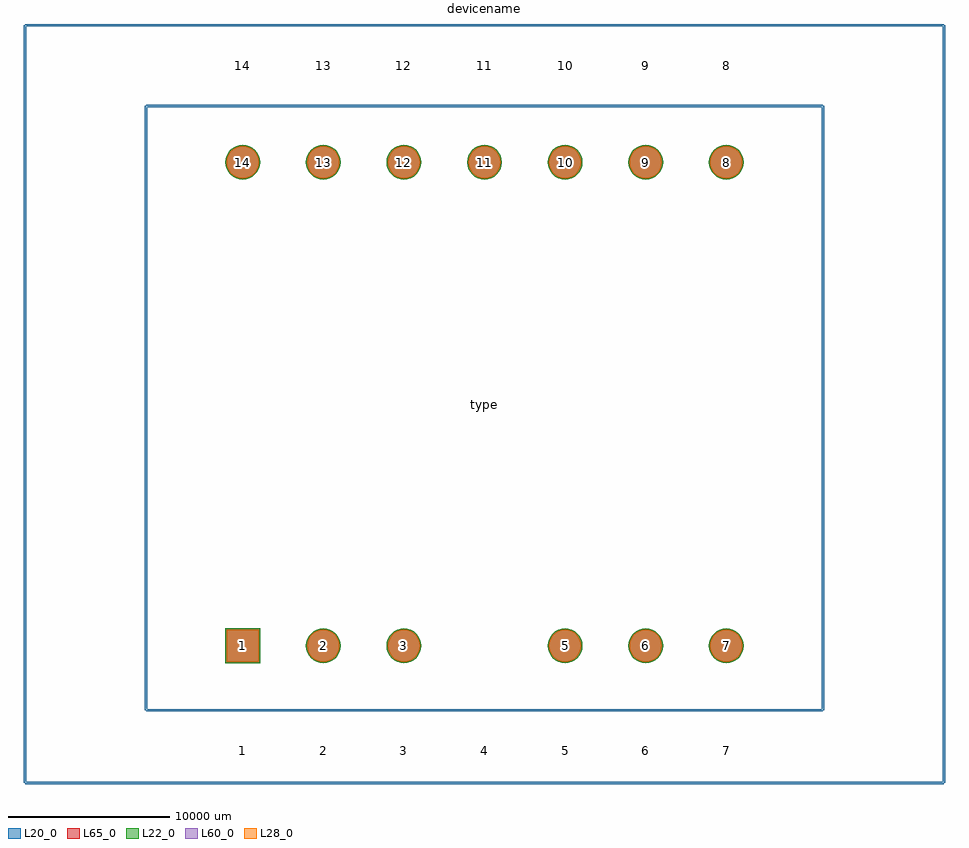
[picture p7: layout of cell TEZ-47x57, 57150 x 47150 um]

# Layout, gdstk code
import gdstk
lib = gdstk.Library(unit=1e-6, precision=1e-09)
def R(c, l, rs):  # rectangles x0, y0, x1, y1
    for r in rs: c.add(gdstk.rectangle(r[:2], r[2:], *l))
def P(c, l, *ps):  # polygons
    for p in ps: c.add(gdstk.Polygon(p, *l))
L20_0 = (20, 0)
L22_0 = (22, 0)
L28_0 = (28, 0)
L60_0 = (60, 0)
L65_0 = (65, 0)

tez_47x57 = lib.new_cell('TEZ-47x57')
R(tez_47x57, L22_0, [(-16075,-16075,-13925,-13925)])
P(tez_47x57, L22_0, [(-8925,15000),(-8945.656,15209.722),(-9006.83,15411.385),(-9106.17,15597.238),(-9239.86,15760.14),(-9402.762,15893.83),(-9588.615,15993.17),(-9790.278,16054.344),(-10000,16075),(-10209.722,16054.344),(-10411.385,15993.17),(-10597.238,15893.83),(-10760.14,15760.14),(-10893.83,15597.238),(-10993.17,15411.385),(-11054.344,15209.722),(-11075,15000),(-11054.344,14790.278),(-10993.17,14588.615),(-10893.83,14402.762),(-10760.14,14239.86),(-10597.238,14106.17),(-10411.385,14006.83),(-10209.722,13945.656),(-10000,13925),(-9790.278,13945.656),(-9588.615,14006.83),(-9402.762,14106.17),(-9239.86,14239.86),(-9106.17,14402.762),(-9006.83,14588.615),(-8945.656,14790.278)],
  [(-13925,15000),(-13945.656,15209.722),(-14006.83,15411.385),(-14106.17,15597.238),(-14239.86,15760.14),(-14402.762,15893.83),(-14588.615,15993.17),(-14790.278,16054.344),(-15000,16075),(-15209.722,16054.344),(-15411.385,15993.17),(-15597.238,15893.83),(-15760.14,15760.14),(-15893.83,15597.238),(-15993.17,15411.385),(-16054.344,15209.722),(-16075,15000),(-16054.344,14790.278),(-15993.17,14588.615),(-15893.83,14402.762),(-15760.14,14239.86),(-15597.238,14106.17),(-15411.385,14006.83),(-15209.722,13945.656),(-15000,13925),(-14790.278,13945.656),(-14588.615,14006.83),(-14402.762,14106.17),(-14239.86,14239.86),(-14106.17,14402.762),(-14006.83,14588.615),(-13945.656,14790.278)],
  [(-3925,-15000),(-3945.656,-14790.278),(-4006.83,-14588.615),(-4106.17,-14402.762),(-4239.86,-14239.86),(-4402.762,-14106.17),(-4588.615,-14006.83),(-4790.278,-13945.656),(-5000,-13925),(-5209.722,-13945.656),(-5411.385,-14006.83),(-5597.238,-14106.17),(-5760.14,-14239.86),(-5893.83,-14402.762),(-5993.17,-14588.615),(-6054.344,-14790.278),(-6075,-15000),(-6054.344,-15209.722),(-5993.17,-15411.385),(-5893.83,-15597.238),(-5760.14,-15760.14),(-5597.238,-15893.83),(-5411.385,-15993.17),(-5209.722,-16054.344),(-5000,-16075),(-4790.278,-16054.344),(-4588.615,-15993.17),(-4402.762,-15893.83),(-4239.86,-15760.14),(-4106.17,-15597.238),(-4006.83,-15411.385),(-3945.656,-15209.722)],
  [(-3925,15000),(-3945.656,15209.722),(-4006.83,15411.385),(-4106.17,15597.238),(-4239.86,15760.14),(-4402.762,15893.83),(-4588.615,15993.17),(-4790.278,16054.344),(-5000,16075),(-5209.722,16054.344),(-5411.385,15993.17),(-5597.238,15893.83),(-5760.14,15760.14),(-5893.83,15597.238),(-5993.17,15411.385),(-6054.344,15209.722),(-6075,15000),(-6054.344,14790.278),(-5993.17,14588.615),(-5893.83,14402.762),(-5760.14,14239.86),(-5597.238,14106.17),(-5411.385,14006.83),(-5209.722,13945.656),(-5000,13925),(-4790.278,13945.656),(-4588.615,14006.83),(-4402.762,14106.17),(-4239.86,14239.86),(-4106.17,14402.762),(-4006.83,14588.615),(-3945.656,14790.278)],
  [(1075,15000),(1054.344,15209.722),(993.17,15411.385),(893.83,15597.238),(760.14,15760.14),(597.238,15893.83),(411.385,15993.17),(209.722,16054.344),(0,16075),(-209.722,16054.344),(-411.385,15993.17),(-597.238,15893.83),(-760.14,15760.14),(-893.83,15597.238),(-993.17,15411.385),(-1054.344,15209.722),(-1075,15000),(-1054.344,14790.278),(-993.17,14588.615),(-893.83,14402.762),(-760.14,14239.86),(-597.238,14106.17),(-411.385,14006.83),(-209.722,13945.656),(0,13925),(209.722,13945.656),(411.385,14006.83),(597.238,14106.17),(760.14,14239.86),(893.83,14402.762),(993.17,14588.615),(1054.344,14790.278)],
  [(6075,15000),(6054.344,15209.722),(5993.17,15411.385),(5893.83,15597.238),(5760.14,15760.14),(5597.238,15893.83),(5411.385,15993.17),(5209.722,16054.344),(5000,16075),(4790.278,16054.344),(4588.615,15993.17),(4402.762,15893.83),(4239.86,15760.14),(4106.17,15597.238),(4006.83,15411.385),(3945.656,15209.722),(3925,15000),(3945.656,14790.278),(4006.83,14588.615),(4106.17,14402.762),(4239.86,14239.86),(4402.762,14106.17),(4588.615,14006.83),(4790.278,13945.656),(5000,13925),(5209.722,13945.656),(5411.385,14006.83),(5597.238,14106.17),(5760.14,14239.86),(5893.83,14402.762),(5993.17,14588.615),(6054.344,14790.278)],
  [(11075,15000),(11054.344,15209.722),(10993.17,15411.385),(10893.83,15597.238),(10760.14,15760.14),(10597.238,15893.83),(10411.385,15993.17),(10209.722,16054.344),(10000,16075),(9790.278,16054.344),(9588.615,15993.17),(9402.762,15893.83),(9239.86,15760.14),(9106.17,15597.238),(9006.83,15411.385),(8945.656,15209.722),(8925,15000),(8945.656,14790.278),(9006.83,14588.615),(9106.17,14402.762),(9239.86,14239.86),(9402.762,14106.17),(9588.615,14006.83),(9790.278,13945.656),(10000,13925),(10209.722,13945.656),(10411.385,14006.83),(10597.238,14106.17),(10760.14,14239.86),(10893.83,14402.762),(10993.17,14588.615),(11054.344,14790.278)],
  [(16075,15000),(16054.344,15209.722),(15993.17,15411.385),(15893.83,15597.238),(15760.14,15760.14),(15597.238,15893.83),(15411.385,15993.17),(15209.722,16054.344),(15000,16075),(14790.278,16054.344),(14588.615,15993.17),(14402.762,15893.83),(14239.86,15760.14),(14106.17,15597.238),(14006.83,15411.385),(13945.656,15209.722),(13925,15000),(13945.656,14790.278),(14006.83,14588.615),(14106.17,14402.762),(14239.86,14239.86),(14402.762,14106.17),(14588.615,14006.83),(14790.278,13945.656),(15000,13925),(15209.722,13945.656),(15411.385,14006.83),(15597.238,14106.17),(15760.14,14239.86),(15893.83,14402.762),(15993.17,14588.615),(16054.344,14790.278)],
  [(16075,-15000),(16054.344,-14790.278),(15993.17,-14588.615),(15893.83,-14402.762),(15760.14,-14239.86),(15597.238,-14106.17),(15411.385,-14006.83),(15209.722,-13945.656),(15000,-13925),(14790.278,-13945.656),(14588.615,-14006.83),(14402.762,-14106.17),(14239.86,-14239.86),(14106.17,-14402.762),(14006.83,-14588.615),(13945.656,-14790.278),(13925,-15000),(13945.656,-15209.722),(14006.83,-15411.385),(14106.17,-15597.238),(14239.86,-15760.14),(14402.762,-15893.83),(14588.615,-15993.17),(14790.278,-16054.344),(15000,-16075),(15209.722,-16054.344),(15411.385,-15993.17),(15597.238,-15893.83),(15760.14,-15760.14),(15893.83,-15597.238),(15993.17,-15411.385),(16054.344,-15209.722)],
  [(11075,-15000),(11054.344,-14790.278),(10993.17,-14588.615),(10893.83,-14402.762),(10760.14,-14239.86),(10597.238,-14106.17),(10411.385,-14006.83),(10209.722,-13945.656),(10000,-13925),(9790.278,-13945.656),(9588.615,-14006.83),(9402.762,-14106.17),(9239.86,-14239.86),(9106.17,-14402.762),(9006.83,-14588.615),(8945.656,-14790.278),(8925,-15000),(8945.656,-15209.722),(9006.83,-15411.385),(9106.17,-15597.238),(9239.86,-15760.14),(9402.762,-15893.83),(9588.615,-15993.17),(9790.278,-16054.344),(10000,-16075),(10209.722,-16054.344),(10411.385,-15993.17),(10597.238,-15893.83),(10760.14,-15760.14),(10893.83,-15597.238),(10993.17,-15411.385),(11054.344,-15209.722)],
  [(6075,-15000),(6054.344,-14790.278),(5993.17,-14588.615),(5893.83,-14402.762),(5760.14,-14239.86),(5597.238,-14106.17),(5411.385,-14006.83),(5209.722,-13945.656),(5000,-13925),(4790.278,-13945.656),(4588.615,-14006.83),(4402.762,-14106.17),(4239.86,-14239.86),(4106.17,-14402.762),(4006.83,-14588.615),(3945.656,-14790.278),(3925,-15000),(3945.656,-15209.722),(4006.83,-15411.385),(4106.17,-15597.238),(4239.86,-15760.14),(4402.762,-15893.83),(4588.615,-15993.17),(4790.278,-16054.344),(5000,-16075),(5209.722,-16054.344),(5411.385,-15993.17),(5597.238,-15893.83),(5760.14,-15760.14),(5893.83,-15597.238),(5993.17,-15411.385),(6054.344,-15209.722)],
  [(-8925,-15000),(-8945.656,-14790.278),(-9006.83,-14588.615),(-9106.17,-14402.762),(-9239.86,-14239.86),(-9402.762,-14106.17),(-9588.615,-14006.83),(-9790.278,-13945.656),(-10000,-13925),(-10209.722,-13945.656),(-10411.385,-14006.83),(-10597.238,-14106.17),(-10760.14,-14239.86),(-10893.83,-14402.762),(-10993.17,-14588.615),(-11054.344,-14790.278),(-11075,-15000),(-11054.344,-15209.722),(-10993.17,-15411.385),(-10893.83,-15597.238),(-10760.14,-15760.14),(-10597.238,-15893.83),(-10411.385,-15993.17),(-10209.722,-16054.344),(-10000,-16075),(-9790.278,-16054.344),(-9588.615,-15993.17),(-9402.762,-15893.83),(-9239.86,-15760.14),(-9106.17,-15597.238),(-9006.83,-15411.385),(-8945.656,-15209.722)])
R(tez_47x57, L28_0, [(-16000,-16000,-14000,-14000)])
P(tez_47x57, L28_0, [(-9000,15000),(-9019.215,15195.09),(-9076.12,15382.683),(-9168.53,15555.57),(-9292.893,15707.107),(-9444.43,15831.47),(-9617.317,15923.88),(-9804.91,15980.785),(-10000,16000),(-10195.09,15980.785),(-10382.683,15923.88),(-10555.57,15831.47),(-10707.107,15707.107),(-10831.47,15555.57),(-10923.88,15382.683),(-10980.785,15195.09),(-11000,15000),(-10980.785,14804.91),(-10923.88,14617.317),(-10831.47,14444.43),(-10707.107,14292.893),(-10555.57,14168.53),(-10382.683,14076.12),(-10195.09,14019.215),(-10000,14000),(-9804.91,14019.215),(-9617.317,14076.12),(-9444.43,14168.53),(-9292.893,14292.893),(-9168.53,14444.43),(-9076.12,14617.317),(-9019.215,14804.91)],
  [(-14000,15000),(-14019.215,15195.09),(-14076.12,15382.683),(-14168.53,15555.57),(-14292.893,15707.107),(-14444.43,15831.47),(-14617.317,15923.88),(-14804.91,15980.785),(-15000,16000),(-15195.09,15980.785),(-15382.683,15923.88),(-15555.57,15831.47),(-15707.107,15707.107),(-15831.47,15555.57),(-15923.88,15382.683),(-15980.785,15195.09),(-16000,15000),(-15980.785,14804.91),(-15923.88,14617.317),(-15831.47,14444.43),(-15707.107,14292.893),(-15555.57,14168.53),(-15382.683,14076.12),(-15195.09,14019.215),(-15000,14000),(-14804.91,14019.215),(-14617.317,14076.12),(-14444.43,14168.53),(-14292.893,14292.893),(-14168.53,14444.43),(-14076.12,14617.317),(-14019.215,14804.91)],
  [(-4000,-15000),(-4019.215,-14804.91),(-4076.12,-14617.317),(-4168.53,-14444.43),(-4292.893,-14292.893),(-4444.43,-14168.53),(-4617.317,-14076.12),(-4804.91,-14019.215),(-5000,-14000),(-5195.09,-14019.215),(-5382.683,-14076.12),(-5555.57,-14168.53),(-5707.107,-14292.893),(-5831.47,-14444.43),(-5923.88,-14617.317),(-5980.785,-14804.91),(-6000,-15000),(-5980.785,-15195.09),(-5923.88,-15382.683),(-5831.47,-15555.57),(-5707.107,-15707.107),(-5555.57,-15831.47),(-5382.683,-15923.88),(-5195.09,-15980.785),(-5000,-16000),(-4804.91,-15980.785),(-4617.317,-15923.88),(-4444.43,-15831.47),(-4292.893,-15707.107),(-4168.53,-15555.57),(-4076.12,-15382.683),(-4019.215,-15195.09)],
  [(-4000,15000),(-4019.215,15195.09),(-4076.12,15382.683),(-4168.53,15555.57),(-4292.893,15707.107),(-4444.43,15831.47),(-4617.317,15923.88),(-4804.91,15980.785),(-5000,16000),(-5195.09,15980.785),(-5382.683,15923.88),(-5555.57,15831.47),(-5707.107,15707.107),(-5831.47,15555.57),(-5923.88,15382.683),(-5980.785,15195.09),(-6000,15000),(-5980.785,14804.91),(-5923.88,14617.317),(-5831.47,14444.43),(-5707.107,14292.893),(-5555.57,14168.53),(-5382.683,14076.12),(-5195.09,14019.215),(-5000,14000),(-4804.91,14019.215),(-4617.317,14076.12),(-4444.43,14168.53),(-4292.893,14292.893),(-4168.53,14444.43),(-4076.12,14617.317),(-4019.215,14804.91)],
  [(1000,15000),(980.785,15195.09),(923.88,15382.683),(831.47,15555.57),(707.107,15707.107),(555.57,15831.47),(382.683,15923.88),(195.09,15980.785),(0,16000),(-195.09,15980.785),(-382.683,15923.88),(-555.57,15831.47),(-707.107,15707.107),(-831.47,15555.57),(-923.88,15382.683),(-980.785,15195.09),(-1000,15000),(-980.785,14804.91),(-923.88,14617.317),(-831.47,14444.43),(-707.107,14292.893),(-555.57,14168.53),(-382.683,14076.12),(-195.09,14019.215),(0,14000),(195.09,14019.215),(382.683,14076.12),(555.57,14168.53),(707.107,14292.893),(831.47,14444.43),(923.88,14617.317),(980.785,14804.91)],
  [(6000,15000),(5980.785,15195.09),(5923.88,15382.683),(5831.47,15555.57),(5707.107,15707.107),(5555.57,15831.47),(5382.683,15923.88),(5195.09,15980.785),(5000,16000),(4804.91,15980.785),(4617.317,15923.88),(4444.43,15831.47),(4292.893,15707.107),(4168.53,15555.57),(4076.12,15382.683),(4019.215,15195.09),(4000,15000),(4019.215,14804.91),(4076.12,14617.317),(4168.53,14444.43),(4292.893,14292.893),(4444.43,14168.53),(4617.317,14076.12),(4804.91,14019.215),(5000,14000),(5195.09,14019.215),(5382.683,14076.12),(5555.57,14168.53),(5707.107,14292.893),(5831.47,14444.43),(5923.88,14617.317),(5980.785,14804.91)],
  [(11000,15000),(10980.785,15195.09),(10923.88,15382.683),(10831.47,15555.57),(10707.107,15707.107),(10555.57,15831.47),(10382.683,15923.88),(10195.09,15980.785),(10000,16000),(9804.91,15980.785),(9617.317,15923.88),(9444.43,15831.47),(9292.893,15707.107),(9168.53,15555.57),(9076.12,15382.683),(9019.215,15195.09),(9000,15000),(9019.215,14804.91),(9076.12,14617.317),(9168.53,14444.43),(9292.893,14292.893),(9444.43,14168.53),(9617.317,14076.12),(9804.91,14019.215),(10000,14000),(10195.09,14019.215),(10382.683,14076.12),(10555.57,14168.53),(10707.107,14292.893),(10831.47,14444.43),(10923.88,14617.317),(10980.785,14804.91)],
  [(16000,15000),(15980.785,15195.09),(15923.88,15382.683),(15831.47,15555.57),(15707.107,15707.107),(15555.57,15831.47),(15382.683,15923.88),(15195.09,15980.785),(15000,16000),(14804.91,15980.785),(14617.317,15923.88),(14444.43,15831.47),(14292.893,15707.107),(14168.53,15555.57),(14076.12,15382.683),(14019.215,15195.09),(14000,15000),(14019.215,14804.91),(14076.12,14617.317),(14168.53,14444.43),(14292.893,14292.893),(14444.43,14168.53),(14617.317,14076.12),(14804.91,14019.215),(15000,14000),(15195.09,14019.215),(15382.683,14076.12),(15555.57,14168.53),(15707.107,14292.893),(15831.47,14444.43),(15923.88,14617.317),(15980.785,14804.91)],
  [(16000,-15000),(15980.785,-14804.91),(15923.88,-14617.317),(15831.47,-14444.43),(15707.107,-14292.893),(15555.57,-14168.53),(15382.683,-14076.12),(15195.09,-14019.215),(15000,-14000),(14804.91,-14019.215),(14617.317,-14076.12),(14444.43,-14168.53),(14292.893,-14292.893),(14168.53,-14444.43),(14076.12,-14617.317),(14019.215,-14804.91),(14000,-15000),(14019.215,-15195.09),(14076.12,-15382.683),(14168.53,-15555.57),(14292.893,-15707.107),(14444.43,-15831.47),(14617.317,-15923.88),(14804.91,-15980.785),(15000,-16000),(15195.09,-15980.785),(15382.683,-15923.88),(15555.57,-15831.47),(15707.107,-15707.107),(15831.47,-15555.57),(15923.88,-15382.683),(15980.785,-15195.09)],
  [(11000,-15000),(10980.785,-14804.91),(10923.88,-14617.317),(10831.47,-14444.43),(10707.107,-14292.893),(10555.57,-14168.53),(10382.683,-14076.12),(10195.09,-14019.215),(10000,-14000),(9804.91,-14019.215),(9617.317,-14076.12),(9444.43,-14168.53),(9292.893,-14292.893),(9168.53,-14444.43),(9076.12,-14617.317),(9019.215,-14804.91),(9000,-15000),(9019.215,-15195.09),(9076.12,-15382.683),(9168.53,-15555.57),(9292.893,-15707.107),(9444.43,-15831.47),(9617.317,-15923.88),(9804.91,-15980.785),(10000,-16000),(10195.09,-15980.785),(10382.683,-15923.88),(10555.57,-15831.47),(10707.107,-15707.107),(10831.47,-15555.57),(10923.88,-15382.683),(10980.785,-15195.09)],
  [(6000,-15000),(5980.785,-14804.91),(5923.88,-14617.317),(5831.47,-14444.43),(5707.107,-14292.893),(5555.57,-14168.53),(5382.683,-14076.12),(5195.09,-14019.215),(5000,-14000),(4804.91,-14019.215),(4617.317,-14076.12),(4444.43,-14168.53),(4292.893,-14292.893),(4168.53,-14444.43),(4076.12,-14617.317),(4019.215,-14804.91),(4000,-15000),(4019.215,-15195.09),(4076.12,-15382.683),(4168.53,-15555.57),(4292.893,-15707.107),(4444.43,-15831.47),(4617.317,-15923.88),(4804.91,-15980.785),(5000,-16000),(5195.09,-15980.785),(5382.683,-15923.88),(5555.57,-15831.47),(5707.107,-15707.107),(5831.47,-15555.57),(5923.88,-15382.683),(5980.785,-15195.09)],
  [(-9000,-15000),(-9019.215,-14804.91),(-9076.12,-14617.317),(-9168.53,-14444.43),(-9292.893,-14292.893),(-9444.43,-14168.53),(-9617.317,-14076.12),(-9804.91,-14019.215),(-10000,-14000),(-10195.09,-14019.215),(-10382.683,-14076.12),(-10555.57,-14168.53),(-10707.107,-14292.893),(-10831.47,-14444.43),(-10923.88,-14617.317),(-10980.785,-14804.91),(-11000,-15000),(-10980.785,-15195.09),(-10923.88,-15382.683),(-10831.47,-15555.57),(-10707.107,-15707.107),(-10555.57,-15831.47),(-10382.683,-15923.88),(-10195.09,-15980.785),(-10000,-16000),(-9804.91,-15980.785),(-9617.317,-15923.88),(-9444.43,-15831.47),(-9292.893,-15707.107),(-9168.53,-15555.57),(-9076.12,-15382.683),(-9019.215,-15195.09)])
R(tez_47x57, L60_0, [(-16000,-16000,-14000,-14000)])
P(tez_47x57, L60_0, [(-9000,15000),(-9019.215,15195.09),(-9076.12,15382.683),(-9168.53,15555.57),(-9292.893,15707.107),(-9444.43,15831.47),(-9617.317,15923.88),(-9804.91,15980.785),(-10000,16000),(-10195.09,15980.785),(-10382.683,15923.88),(-10555.57,15831.47),(-10707.107,15707.107),(-10831.47,15555.57),(-10923.88,15382.683),(-10980.785,15195.09),(-11000,15000),(-10980.785,14804.91),(-10923.88,14617.317),(-10831.47,14444.43),(-10707.107,14292.893),(-10555.57,14168.53),(-10382.683,14076.12),(-10195.09,14019.215),(-10000,14000),(-9804.91,14019.215),(-9617.317,14076.12),(-9444.43,14168.53),(-9292.893,14292.893),(-9168.53,14444.43),(-9076.12,14617.317),(-9019.215,14804.91)],
  [(-14000,15000),(-14019.215,15195.09),(-14076.12,15382.683),(-14168.53,15555.57),(-14292.893,15707.107),(-14444.43,15831.47),(-14617.317,15923.88),(-14804.91,15980.785),(-15000,16000),(-15195.09,15980.785),(-15382.683,15923.88),(-15555.57,15831.47),(-15707.107,15707.107),(-15831.47,15555.57),(-15923.88,15382.683),(-15980.785,15195.09),(-16000,15000),(-15980.785,14804.91),(-15923.88,14617.317),(-15831.47,14444.43),(-15707.107,14292.893),(-15555.57,14168.53),(-15382.683,14076.12),(-15195.09,14019.215),(-15000,14000),(-14804.91,14019.215),(-14617.317,14076.12),(-14444.43,14168.53),(-14292.893,14292.893),(-14168.53,14444.43),(-14076.12,14617.317),(-14019.215,14804.91)],
  [(-4000,-15000),(-4019.215,-14804.91),(-4076.12,-14617.317),(-4168.53,-14444.43),(-4292.893,-14292.893),(-4444.43,-14168.53),(-4617.317,-14076.12),(-4804.91,-14019.215),(-5000,-14000),(-5195.09,-14019.215),(-5382.683,-14076.12),(-5555.57,-14168.53),(-5707.107,-14292.893),(-5831.47,-14444.43),(-5923.88,-14617.317),(-5980.785,-14804.91),(-6000,-15000),(-5980.785,-15195.09),(-5923.88,-15382.683),(-5831.47,-15555.57),(-5707.107,-15707.107),(-5555.57,-15831.47),(-5382.683,-15923.88),(-5195.09,-15980.785),(-5000,-16000),(-4804.91,-15980.785),(-4617.317,-15923.88),(-4444.43,-15831.47),(-4292.893,-15707.107),(-4168.53,-15555.57),(-4076.12,-15382.683),(-4019.215,-15195.09)],
  [(-4000,15000),(-4019.215,15195.09),(-4076.12,15382.683),(-4168.53,15555.57),(-4292.893,15707.107),(-4444.43,15831.47),(-4617.317,15923.88),(-4804.91,15980.785),(-5000,16000),(-5195.09,15980.785),(-5382.683,15923.88),(-5555.57,15831.47),(-5707.107,15707.107),(-5831.47,15555.57),(-5923.88,15382.683),(-5980.785,15195.09),(-6000,15000),(-5980.785,14804.91),(-5923.88,14617.317),(-5831.47,14444.43),(-5707.107,14292.893),(-5555.57,14168.53),(-5382.683,14076.12),(-5195.09,14019.215),(-5000,14000),(-4804.91,14019.215),(-4617.317,14076.12),(-4444.43,14168.53),(-4292.893,14292.893),(-4168.53,14444.43),(-4076.12,14617.317),(-4019.215,14804.91)],
  [(1000,15000),(980.785,15195.09),(923.88,15382.683),(831.47,15555.57),(707.107,15707.107),(555.57,15831.47),(382.683,15923.88),(195.09,15980.785),(0,16000),(-195.09,15980.785),(-382.683,15923.88),(-555.57,15831.47),(-707.107,15707.107),(-831.47,15555.57),(-923.88,15382.683),(-980.785,15195.09),(-1000,15000),(-980.785,14804.91),(-923.88,14617.317),(-831.47,14444.43),(-707.107,14292.893),(-555.57,14168.53),(-382.683,14076.12),(-195.09,14019.215),(0,14000),(195.09,14019.215),(382.683,14076.12),(555.57,14168.53),(707.107,14292.893),(831.47,14444.43),(923.88,14617.317),(980.785,14804.91)],
  [(6000,15000),(5980.785,15195.09),(5923.88,15382.683),(5831.47,15555.57),(5707.107,15707.107),(5555.57,15831.47),(5382.683,15923.88),(5195.09,15980.785),(5000,16000),(4804.91,15980.785),(4617.317,15923.88),(4444.43,15831.47),(4292.893,15707.107),(4168.53,15555.57),(4076.12,15382.683),(4019.215,15195.09),(4000,15000),(4019.215,14804.91),(4076.12,14617.317),(4168.53,14444.43),(4292.893,14292.893),(4444.43,14168.53),(4617.317,14076.12),(4804.91,14019.215),(5000,14000),(5195.09,14019.215),(5382.683,14076.12),(5555.57,14168.53),(5707.107,14292.893),(5831.47,14444.43),(5923.88,14617.317),(5980.785,14804.91)],
  [(11000,15000),(10980.785,15195.09),(10923.88,15382.683),(10831.47,15555.57),(10707.107,15707.107),(10555.57,15831.47),(10382.683,15923.88),(10195.09,15980.785),(10000,16000),(9804.91,15980.785),(9617.317,15923.88),(9444.43,15831.47),(9292.893,15707.107),(9168.53,15555.57),(9076.12,15382.683),(9019.215,15195.09),(9000,15000),(9019.215,14804.91),(9076.12,14617.317),(9168.53,14444.43),(9292.893,14292.893),(9444.43,14168.53),(9617.317,14076.12),(9804.91,14019.215),(10000,14000),(10195.09,14019.215),(10382.683,14076.12),(10555.57,14168.53),(10707.107,14292.893),(10831.47,14444.43),(10923.88,14617.317),(10980.785,14804.91)],
  [(16000,15000),(15980.785,15195.09),(15923.88,15382.683),(15831.47,15555.57),(15707.107,15707.107),(15555.57,15831.47),(15382.683,15923.88),(15195.09,15980.785),(15000,16000),(14804.91,15980.785),(14617.317,15923.88),(14444.43,15831.47),(14292.893,15707.107),(14168.53,15555.57),(14076.12,15382.683),(14019.215,15195.09),(14000,15000),(14019.215,14804.91),(14076.12,14617.317),(14168.53,14444.43),(14292.893,14292.893),(14444.43,14168.53),(14617.317,14076.12),(14804.91,14019.215),(15000,14000),(15195.09,14019.215),(15382.683,14076.12),(15555.57,14168.53),(15707.107,14292.893),(15831.47,14444.43),(15923.88,14617.317),(15980.785,14804.91)],
  [(16000,-15000),(15980.785,-14804.91),(15923.88,-14617.317),(15831.47,-14444.43),(15707.107,-14292.893),(15555.57,-14168.53),(15382.683,-14076.12),(15195.09,-14019.215),(15000,-14000),(14804.91,-14019.215),(14617.317,-14076.12),(14444.43,-14168.53),(14292.893,-14292.893),(14168.53,-14444.43),(14076.12,-14617.317),(14019.215,-14804.91),(14000,-15000),(14019.215,-15195.09),(14076.12,-15382.683),(14168.53,-15555.57),(14292.893,-15707.107),(14444.43,-15831.47),(14617.317,-15923.88),(14804.91,-15980.785),(15000,-16000),(15195.09,-15980.785),(15382.683,-15923.88),(15555.57,-15831.47),(15707.107,-15707.107),(15831.47,-15555.57),(15923.88,-15382.683),(15980.785,-15195.09)],
  [(11000,-15000),(10980.785,-14804.91),(10923.88,-14617.317),(10831.47,-14444.43),(10707.107,-14292.893),(10555.57,-14168.53),(10382.683,-14076.12),(10195.09,-14019.215),(10000,-14000),(9804.91,-14019.215),(9617.317,-14076.12),(9444.43,-14168.53),(9292.893,-14292.893),(9168.53,-14444.43),(9076.12,-14617.317),(9019.215,-14804.91),(9000,-15000),(9019.215,-15195.09),(9076.12,-15382.683),(9168.53,-15555.57),(9292.893,-15707.107),(9444.43,-15831.47),(9617.317,-15923.88),(9804.91,-15980.785),(10000,-16000),(10195.09,-15980.785),(10382.683,-15923.88),(10555.57,-15831.47),(10707.107,-15707.107),(10831.47,-15555.57),(10923.88,-15382.683),(10980.785,-15195.09)],
  [(6000,-15000),(5980.785,-14804.91),(5923.88,-14617.317),(5831.47,-14444.43),(5707.107,-14292.893),(5555.57,-14168.53),(5382.683,-14076.12),(5195.09,-14019.215),(5000,-14000),(4804.91,-14019.215),(4617.317,-14076.12),(4444.43,-14168.53),(4292.893,-14292.893),(4168.53,-14444.43),(4076.12,-14617.317),(4019.215,-14804.91),(4000,-15000),(4019.215,-15195.09),(4076.12,-15382.683),(4168.53,-15555.57),(4292.893,-15707.107),(4444.43,-15831.47),(4617.317,-15923.88),(4804.91,-15980.785),(5000,-16000),(5195.09,-15980.785),(5382.683,-15923.88),(5555.57,-15831.47),(5707.107,-15707.107),(5831.47,-15555.57),(5923.88,-15382.683),(5980.785,-15195.09)],
  [(-9000,-15000),(-9019.215,-14804.91),(-9076.12,-14617.317),(-9168.53,-14444.43),(-9292.893,-14292.893),(-9444.43,-14168.53),(-9617.317,-14076.12),(-9804.91,-14019.215),(-10000,-14000),(-10195.09,-14019.215),(-10382.683,-14076.12),(-10555.57,-14168.53),(-10707.107,-14292.893),(-10831.47,-14444.43),(-10923.88,-14617.317),(-10980.785,-14804.91),(-11000,-15000),(-10980.785,-15195.09),(-10923.88,-15382.683),(-10831.47,-15555.57),(-10707.107,-15707.107),(-10555.57,-15831.47),(-10382.683,-15923.88),(-10195.09,-15980.785),(-10000,-16000),(-9804.91,-15980.785),(-9617.317,-15923.88),(-9444.43,-15831.47),(-9292.893,-15707.107),(-9168.53,-15555.57),(-9076.12,-15382.683),(-9019.215,-15195.09)])
R(tez_47x57, L65_0, [(-16075,-16075,-13925,-13925)])
P(tez_47x57, L65_0, [(-8925,15000),(-8945.656,15209.722),(-9006.83,15411.385),(-9106.17,15597.238),(-9239.86,15760.14),(-9402.762,15893.83),(-9588.615,15993.17),(-9790.278,16054.344),(-10000,16075),(-10209.722,16054.344),(-10411.385,15993.17),(-10597.238,15893.83),(-10760.14,15760.14),(-10893.83,15597.238),(-10993.17,15411.385),(-11054.344,15209.722),(-11075,15000),(-11054.344,14790.278),(-10993.17,14588.615),(-10893.83,14402.762),(-10760.14,14239.86),(-10597.238,14106.17),(-10411.385,14006.83),(-10209.722,13945.656),(-10000,13925),(-9790.278,13945.656),(-9588.615,14006.83),(-9402.762,14106.17),(-9239.86,14239.86),(-9106.17,14402.762),(-9006.83,14588.615),(-8945.656,14790.278)],
  [(-13925,15000),(-13945.656,15209.722),(-14006.83,15411.385),(-14106.17,15597.238),(-14239.86,15760.14),(-14402.762,15893.83),(-14588.615,15993.17),(-14790.278,16054.344),(-15000,16075),(-15209.722,16054.344),(-15411.385,15993.17),(-15597.238,15893.83),(-15760.14,15760.14),(-15893.83,15597.238),(-15993.17,15411.385),(-16054.344,15209.722),(-16075,15000),(-16054.344,14790.278),(-15993.17,14588.615),(-15893.83,14402.762),(-15760.14,14239.86),(-15597.238,14106.17),(-15411.385,14006.83),(-15209.722,13945.656),(-15000,13925),(-14790.278,13945.656),(-14588.615,14006.83),(-14402.762,14106.17),(-14239.86,14239.86),(-14106.17,14402.762),(-14006.83,14588.615),(-13945.656,14790.278)],
  [(-3925,-15000),(-3945.656,-14790.278),(-4006.83,-14588.615),(-4106.17,-14402.762),(-4239.86,-14239.86),(-4402.762,-14106.17),(-4588.615,-14006.83),(-4790.278,-13945.656),(-5000,-13925),(-5209.722,-13945.656),(-5411.385,-14006.83),(-5597.238,-14106.17),(-5760.14,-14239.86),(-5893.83,-14402.762),(-5993.17,-14588.615),(-6054.344,-14790.278),(-6075,-15000),(-6054.344,-15209.722),(-5993.17,-15411.385),(-5893.83,-15597.238),(-5760.14,-15760.14),(-5597.238,-15893.83),(-5411.385,-15993.17),(-5209.722,-16054.344),(-5000,-16075),(-4790.278,-16054.344),(-4588.615,-15993.17),(-4402.762,-15893.83),(-4239.86,-15760.14),(-4106.17,-15597.238),(-4006.83,-15411.385),(-3945.656,-15209.722)],
  [(-3925,15000),(-3945.656,15209.722),(-4006.83,15411.385),(-4106.17,15597.238),(-4239.86,15760.14),(-4402.762,15893.83),(-4588.615,15993.17),(-4790.278,16054.344),(-5000,16075),(-5209.722,16054.344),(-5411.385,15993.17),(-5597.238,15893.83),(-5760.14,15760.14),(-5893.83,15597.238),(-5993.17,15411.385),(-6054.344,15209.722),(-6075,15000),(-6054.344,14790.278),(-5993.17,14588.615),(-5893.83,14402.762),(-5760.14,14239.86),(-5597.238,14106.17),(-5411.385,14006.83),(-5209.722,13945.656),(-5000,13925),(-4790.278,13945.656),(-4588.615,14006.83),(-4402.762,14106.17),(-4239.86,14239.86),(-4106.17,14402.762),(-4006.83,14588.615),(-3945.656,14790.278)],
  [(1075,15000),(1054.344,15209.722),(993.17,15411.385),(893.83,15597.238),(760.14,15760.14),(597.238,15893.83),(411.385,15993.17),(209.722,16054.344),(0,16075),(-209.722,16054.344),(-411.385,15993.17),(-597.238,15893.83),(-760.14,15760.14),(-893.83,15597.238),(-993.17,15411.385),(-1054.344,15209.722),(-1075,15000),(-1054.344,14790.278),(-993.17,14588.615),(-893.83,14402.762),(-760.14,14239.86),(-597.238,14106.17),(-411.385,14006.83),(-209.722,13945.656),(0,13925),(209.722,13945.656),(411.385,14006.83),(597.238,14106.17),(760.14,14239.86),(893.83,14402.762),(993.17,14588.615),(1054.344,14790.278)],
  [(6075,15000),(6054.344,15209.722),(5993.17,15411.385),(5893.83,15597.238),(5760.14,15760.14),(5597.238,15893.83),(5411.385,15993.17),(5209.722,16054.344),(5000,16075),(4790.278,16054.344),(4588.615,15993.17),(4402.762,15893.83),(4239.86,15760.14),(4106.17,15597.238),(4006.83,15411.385),(3945.656,15209.722),(3925,15000),(3945.656,14790.278),(4006.83,14588.615),(4106.17,14402.762),(4239.86,14239.86),(4402.762,14106.17),(4588.615,14006.83),(4790.278,13945.656),(5000,13925),(5209.722,13945.656),(5411.385,14006.83),(5597.238,14106.17),(5760.14,14239.86),(5893.83,14402.762),(5993.17,14588.615),(6054.344,14790.278)],
  [(11075,15000),(11054.344,15209.722),(10993.17,15411.385),(10893.83,15597.238),(10760.14,15760.14),(10597.238,15893.83),(10411.385,15993.17),(10209.722,16054.344),(10000,16075),(9790.278,16054.344),(9588.615,15993.17),(9402.762,15893.83),(9239.86,15760.14),(9106.17,15597.238),(9006.83,15411.385),(8945.656,15209.722),(8925,15000),(8945.656,14790.278),(9006.83,14588.615),(9106.17,14402.762),(9239.86,14239.86),(9402.762,14106.17),(9588.615,14006.83),(9790.278,13945.656),(10000,13925),(10209.722,13945.656),(10411.385,14006.83),(10597.238,14106.17),(10760.14,14239.86),(10893.83,14402.762),(10993.17,14588.615),(11054.344,14790.278)],
  [(16075,15000),(16054.344,15209.722),(15993.17,15411.385),(15893.83,15597.238),(15760.14,15760.14),(15597.238,15893.83),(15411.385,15993.17),(15209.722,16054.344),(15000,16075),(14790.278,16054.344),(14588.615,15993.17),(14402.762,15893.83),(14239.86,15760.14),(14106.17,15597.238),(14006.83,15411.385),(13945.656,15209.722),(13925,15000),(13945.656,14790.278),(14006.83,14588.615),(14106.17,14402.762),(14239.86,14239.86),(14402.762,14106.17),(14588.615,14006.83),(14790.278,13945.656),(15000,13925),(15209.722,13945.656),(15411.385,14006.83),(15597.238,14106.17),(15760.14,14239.86),(15893.83,14402.762),(15993.17,14588.615),(16054.344,14790.278)],
  [(16075,-15000),(16054.344,-14790.278),(15993.17,-14588.615),(15893.83,-14402.762),(15760.14,-14239.86),(15597.238,-14106.17),(15411.385,-14006.83),(15209.722,-13945.656),(15000,-13925),(14790.278,-13945.656),(14588.615,-14006.83),(14402.762,-14106.17),(14239.86,-14239.86),(14106.17,-14402.762),(14006.83,-14588.615),(13945.656,-14790.278),(13925,-15000),(13945.656,-15209.722),(14006.83,-15411.385),(14106.17,-15597.238),(14239.86,-15760.14),(14402.762,-15893.83),(14588.615,-15993.17),(14790.278,-16054.344),(15000,-16075),(15209.722,-16054.344),(15411.385,-15993.17),(15597.238,-15893.83),(15760.14,-15760.14),(15893.83,-15597.238),(15993.17,-15411.385),(16054.344,-15209.722)],
  [(11075,-15000),(11054.344,-14790.278),(10993.17,-14588.615),(10893.83,-14402.762),(10760.14,-14239.86),(10597.238,-14106.17),(10411.385,-14006.83),(10209.722,-13945.656),(10000,-13925),(9790.278,-13945.656),(9588.615,-14006.83),(9402.762,-14106.17),(9239.86,-14239.86),(9106.17,-14402.762),(9006.83,-14588.615),(8945.656,-14790.278),(8925,-15000),(8945.656,-15209.722),(9006.83,-15411.385),(9106.17,-15597.238),(9239.86,-15760.14),(9402.762,-15893.83),(9588.615,-15993.17),(9790.278,-16054.344),(10000,-16075),(10209.722,-16054.344),(10411.385,-15993.17),(10597.238,-15893.83),(10760.14,-15760.14),(10893.83,-15597.238),(10993.17,-15411.385),(11054.344,-15209.722)],
  [(6075,-15000),(6054.344,-14790.278),(5993.17,-14588.615),(5893.83,-14402.762),(5760.14,-14239.86),(5597.238,-14106.17),(5411.385,-14006.83),(5209.722,-13945.656),(5000,-13925),(4790.278,-13945.656),(4588.615,-14006.83),(4402.762,-14106.17),(4239.86,-14239.86),(4106.17,-14402.762),(4006.83,-14588.615),(3945.656,-14790.278),(3925,-15000),(3945.656,-15209.722),(4006.83,-15411.385),(4106.17,-15597.238),(4239.86,-15760.14),(4402.762,-15893.83),(4588.615,-15993.17),(4790.278,-16054.344),(5000,-16075),(5209.722,-16054.344),(5411.385,-15993.17),(5597.238,-15893.83),(5760.14,-15760.14),(5893.83,-15597.238),(5993.17,-15411.385),(6054.344,-15209.722)],
  [(-8925,-15000),(-8945.656,-14790.278),(-9006.83,-14588.615),(-9106.17,-14402.762),(-9239.86,-14239.86),(-9402.762,-14106.17),(-9588.615,-14006.83),(-9790.278,-13945.656),(-10000,-13925),(-10209.722,-13945.656),(-10411.385,-14006.83),(-10597.238,-14106.17),(-10760.14,-14239.86),(-10893.83,-14402.762),(-10993.17,-14588.615),(-11054.344,-14790.278),(-11075,-15000),(-11054.344,-15209.722),(-10993.17,-15411.385),(-10893.83,-15597.238),(-10760.14,-15760.14),(-10597.238,-15893.83),(-10411.385,-15993.17),(-10209.722,-16054.344),(-10000,-16075),(-9790.278,-16054.344),(-9588.615,-15993.17),(-9402.762,-15893.83),(-9239.86,-15760.14),(-9106.17,-15597.238),(-9006.83,-15411.385),(-8945.656,-15209.722)])
tez_47x57.add(gdstk.FlexPath([(28500,-23500),(-28500,-23500)], 149.998, ends="flush", simple_path=True, layer=20, datatype=0))  # L20_0
tez_47x57.add(gdstk.FlexPath([(28500,23500),(28500,-23500)], 149.998, ends="flush", simple_path=True, layer=20, datatype=0))  # L20_0
tez_47x57.add(gdstk.FlexPath([(-28500,23500),(28500,23500)], 149.998, ends="flush", simple_path=True, layer=20, datatype=0))  # L20_0
tez_47x57.add(gdstk.FlexPath([(-28500,23500),(-28500,-23500)], 149.998, ends="flush", simple_path=True, layer=20, datatype=0))  # L20_0
tez_47x57.add(gdstk.FlexPath([(21000,-19000),(21000,18500)], 149.998, ends="flush", simple_path=True, layer=20, datatype=0))  # L20_0
tez_47x57.add(gdstk.FlexPath([(-21000,-19000),(21000,-19000)], 149.998, ends="flush", simple_path=True, layer=20, datatype=0))  # L20_0
tez_47x57.add(gdstk.FlexPath([(-21000,18500),(-21000,-19000)], 149.998, ends="flush", simple_path=True, layer=20, datatype=0))  # L20_0
tez_47x57.add(gdstk.FlexPath([(21000,18500),(-21000,18500)], 149.998, ends="flush", simple_path=True, layer=20, datatype=0))  # L20_0
tez_47x57.add(gdstk.Label('13', (-10000,15000), layer=28, texttype=0))
tez_47x57.add(gdstk.Label('14', (-15000,15000), layer=28, texttype=0))
tez_47x57.add(gdstk.Label('3', (-5000,-15000), layer=28, texttype=0))
tez_47x57.add(gdstk.Label('12', (-5000,15000), layer=28, texttype=0))
tez_47x57.add(gdstk.Label('11', (0,15000), layer=28, texttype=0))
tez_47x57.add(gdstk.Label('10', (5000,15000), layer=28, texttype=0))
tez_47x57.add(gdstk.Label('9', (10000,15000), layer=28, texttype=0))
tez_47x57.add(gdstk.Label('8', (15000,15000), layer=28, texttype=0))
tez_47x57.add(gdstk.Label('7', (15000,-15000), layer=28, texttype=0))
tez_47x57.add(gdstk.Label('6', (10000,-15000), layer=28, texttype=0))
tez_47x57.add(gdstk.Label('5', (5000,-15000), layer=28, texttype=0))
tez_47x57.add(gdstk.Label('2', (-10000,-15000), layer=28, texttype=0))
tez_47x57.add(gdstk.Label('1', (-15000,-15000), layer=28, texttype=0))
tez_47x57.add(gdstk.Label('1', (-15000,-21500), layer=9, texttype=0))
tez_47x57.add(gdstk.Label('2', (-10000,-21500), layer=9, texttype=0))
tez_47x57.add(gdstk.Label('3', (-5000,-21500), layer=9, texttype=0))
tez_47x57.add(gdstk.Label('4', (0,-21500), layer=9, texttype=0))
tez_47x57.add(gdstk.Label('5', (5000,-21500), layer=9, texttype=0))
tez_47x57.add(gdstk.Label('6', (10000,-21500), layer=9, texttype=0))
tez_47x57.add(gdstk.Label('7', (15000,-21500), layer=9, texttype=0))
tez_47x57.add(gdstk.Label('8', (15000,21000), layer=9, texttype=0))
tez_47x57.add(gdstk.Label('9', (10000,21000), layer=9, texttype=0))
tez_47x57.add(gdstk.Label('10', (5000,21000), layer=9, texttype=0))
tez_47x57.add(gdstk.Label('11', (0,21000), layer=9, texttype=0))
tez_47x57.add(gdstk.Label('12', (-5000,21000), layer=9, texttype=0))
tez_47x57.add(gdstk.Label('13', (-10000,21000), layer=9, texttype=0))
tez_47x57.add(gdstk.Label('14', (-15000,21000), layer=9, texttype=0))
tez_47x57.add(gdstk.Label('type', (0,0), layer=9, texttype=0))
tez_47x57.add(gdstk.Label('devicename', (0,25000), layer=9, texttype=0))

lib.write_gds('TEZ-47x57.gds')
